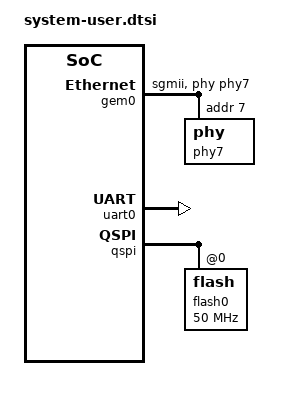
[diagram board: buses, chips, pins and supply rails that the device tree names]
/include/ "system-conf.dtsi"
/ {
};
&gem0 {
    status = "okay";
    phy-handle = <&phy7>;
    phy-mode = "sgmii";
    phy7: phy@7{
        reg = <7>;
        ti,rx-internal-delay = <0x8>;
        ti,tx-internal-delay = <0xa>;
        ti,fifo-depth = <0x1>;
        ti,rxctrl-strap-worka;
    };
};

&uart0{
	status = "okay";
	/delete-property/ pinctrl-0;
	/delete-property/ pinctrl-name;
};

&qspi {
	flash0: flash@0 {
		spi-max-frequency = <50000000>;
	};
};

